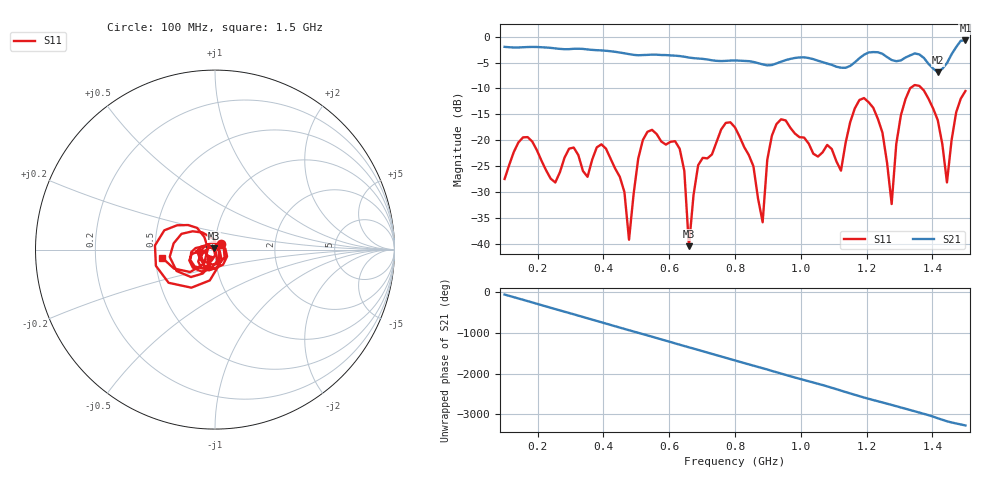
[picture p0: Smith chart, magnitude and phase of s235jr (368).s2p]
! NanoVNA-App
! Date: 2025-09-25 15:07:01
! Start: 100MHz Stop: 1,5GHz Points: 101
! S-Parameter data: F S11 S21 S12 S22
# Hz S RI R 50
!  Frequency  S11_Real  S11_Imag  S21_Real  S21_Imag  S12_Real  S12_Imag  S22_Real  S22_Imag
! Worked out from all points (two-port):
!   101 points, 100 MHz to 1.5 GHz, reference 50 ohm
!   highest |S21| = -0.73 dB at 1.5 GHz (marker M1); lowest = -6.9 dB at 1.416 GHz (marker M2)
!   |S21| within 3 dB of the highest: start of sweep to 629.6 MHz; 1.187 GHz to 1.257 GHz (70.37 MHz wide, 5.76 % of centre) (the widest 2 of 4)
!   lowest |S11| = -40.4 dB at 660 MHz (marker M3), VSWR 1.02, Z = 49.3 + j0.613 ohm
!   |S11| at or under -10 dB: start of sweep to 1.332 GHz; 1.368 GHz to end of sweep
!   S12 and S22 are empty: the file has one direction only
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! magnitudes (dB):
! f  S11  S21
! 100 MHz  -27.5  -2.0
! 156 MHz  -19.4  -2.0
! 338 MHz  -25.9  -2.4
! 408 MHz  -21.6  -2.7
! 478 MHz  -39.2  -3.4
! 520 MHz  -20.0  -3.5
! 576 MHz  -20.2  -3.5
! 632 MHz  -21.6  -3.7
! 660 MHz  -40.4  -4.0
! 688 MHz  -24.8  -4.2
! 800 MHz  -17.5  -4.6
! 884 MHz  -35.8  -5.3
! 926 MHz  -16.9  -5.2
! 1.038 GHz  -22.6  -4.3
! 1.122 GHz  -25.9  -6.0
! 1.192 GHz  -11.8  -3.5
! 1.248 GHz  -18.5  -3.3
! 1.276 GHz  -32.3  -4.5
! 1.332 GHz  -10.0  -3.6
! 1.416 GHz  -16.1  -6.9
! 1.444 GHz  -28.1  -5.1
! 1.5 GHz  -10.5  -0.7
